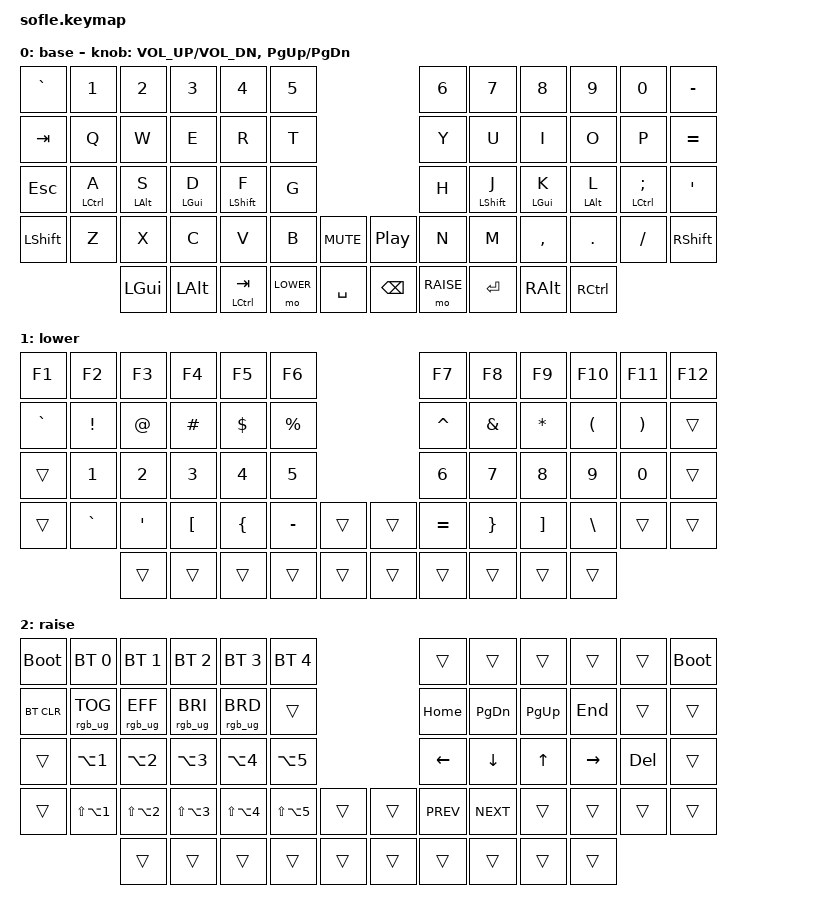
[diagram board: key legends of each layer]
/*
 * Copyright (c) 2020 The ZMK Contributors
 *
 * SPDX-License-Identifier: MIT
 */

#include <behaviors.dtsi>
#include <dt-bindings/zmk/keys.h>
#include <dt-bindings/zmk/bt.h>
#include <dt-bindings/zmk/rgb.h>

#define BASE 0
#define LOWER 1
#define RAISE 2

#define KEYS_L 0 1 2 3 4 5 12 13 14 15 16 17 24 25 26 27 28 29 36 37 38 39 40 41 42
#define KEYS_R 6 7 8 9 10 11 18 19 20 21 22 23 30 31 32 33 34 35 43 44 45 46 47 48 49
#define THUMBS 50 51 52 53 54 55 56 57 58 59

/ {
    behaviors {
        hml: home_row_mod_left {
            compatible = "zmk,behavior-hold-tap";
            #binding-cells = <2>;
            flavor = "balanced";
            require-prior-idle-ms = <150>;
            tapping-term-ms = <280>;
            quick-tap-ms = <175>;
            bindings = <&kp>, <&kp>;
            hold-trigger-key-positions = <KEYS_R THUMBS>;
            hold-trigger-on-release;
        };
        hmr: home_row_mod_right {
            compatible = "zmk,behavior-hold-tap";
            #binding-cells = <2>;
            flavor = "balanced";
            require-prior-idle-ms = <150>;
            tapping-term-ms = <280>;
            quick-tap-ms = <175>;
            bindings = <&kp>, <&kp>;
            hold-trigger-key-positions = <KEYS_L THUMBS>;
            hold-trigger-on-release;
        };
    };

    combos {
        compatible = "zmk,combos";
        combo_esc {
            timeout-ms = <50>;
            key-positions = <31 32>;
            bindings = <&kp ESC>;
        };
    };

    keymap {
        compatible = "zmk,keymap";

        default_layer {
            display-name = "base";
            bindings = <
&kp GRAVE       &kp N1           &kp N2           &kp N3           &kp N4           &kp N5                                &kp N6           &kp N7           &kp N8           &kp N9           &kp N0             &kp MINUS
&kp TAB         &kp Q            &kp W            &kp E            &kp R            &kp T                                 &kp Y            &kp U            &kp I            &kp O            &kp P              &kp EQUAL
&kp ESC         &hml LCTRL A     &hml LALT S      &hml LGUI D      &hml LSHFT F     &kp G                                 &kp H            &hmr LSHFT J     &hmr LGUI K      &hmr LALT L      &hmr LCTRL SEMI    &kp SQT
&kp LSHFT       &kp Z            &kp X            &kp C            &kp V            &kp B      &kp C_MUTE    &kp C_PP     &kp N            &kp M            &kp COMMA        &kp DOT          &kp FSLH           &kp RSHFT
                                 &kp LGUI         &kp LALT         &mt LCTRL TAB    &mo LOWER  &kp SPACE     &kp BSPC     &mo RAISE        &kp RET          &kp RALT         &kp RCTRL
            >;

            sensor-bindings = <&inc_dec_kp C_VOL_UP C_VOL_DN &inc_dec_kp PG_UP PG_DN>;
        };

        lower_layer {
            display-name = "lower";
            bindings = <
&kp F1          &kp F2   &kp F3    &kp F4    &kp F5    &kp F6                                &kp F7    &kp F8    &kp F9    &kp F10   &kp F11   &kp F12
&kp GRAVE       &kp EXCL &kp AT    &kp HASH  &kp DLLR  &kp PRCNT                             &kp CARET &kp AMPS  &kp ASTRK &kp LPAR  &kp RPAR  &trans
&trans          &kp N1   &kp N2    &kp N3    &kp N4    &kp N5                                &kp N6    &kp N7    &kp N8    &kp N9    &kp N0    &trans
&trans          &kp GRAVE &kp SQT  &kp LBKT  &kp LBRC  &kp MINUS  &trans        &trans       &kp EQUAL &kp RBRC  &kp RBKT  &kp BSLH  &trans    &trans
                         &trans    &trans    &trans    &trans     &trans        &trans       &trans    &trans    &trans    &trans
            >;
        };

        raise_layer {
            display-name = "raise";
            bindings = <
&bootloader     &bt BT_SEL 0       &bt BT_SEL 1       &bt BT_SEL 2       &bt BT_SEL 3       &bt BT_SEL 4                       &trans    &trans    &trans    &trans    &trans    &bootloader
&bt BT_CLR      &rgb_ug RGB_TOG    &rgb_ug RGB_EFF    &rgb_ug RGB_BRI    &rgb_ug RGB_BRD    &trans                             &kp HOME  &kp PG_DN &kp PG_UP &kp END   &trans    &trans
&trans          &kp LA(N1)         &kp LA(N2)         &kp LA(N3)         &kp LA(N4)         &kp LA(N5)                         &kp LEFT  &kp DOWN  &kp UP    &kp RIGHT &kp DEL   &trans
&trans          &kp LS(LA(N1))     &kp LS(LA(N2))     &kp LS(LA(N3))     &kp LS(LA(N4))     &kp LS(LA(N5))   &trans   &trans   &kp C_PREV &kp C_NEXT &trans  &trans    &trans    &trans
                                   &trans             &trans             &trans             &trans           &trans   &trans   &trans    &trans    &trans    &trans
            >;
        };
    };
};
